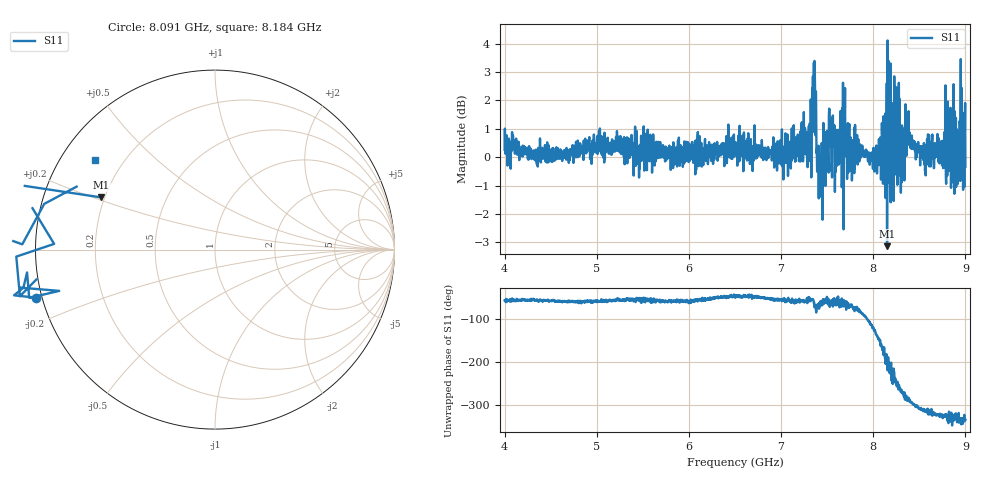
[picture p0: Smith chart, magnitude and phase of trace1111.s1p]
! Created with skrf 1.8.0 (http://scikit-rf.org).
# Hz S RI R 50.0
!freq ReS11 ImS11
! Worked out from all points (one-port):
!   1601 points, 4 GHz to 9 GHz, reference 50 ohm
!   lowest |S11| = -3.1 dB at 8.15 GHz (marker M1), VSWR 5.60, Z = 9.34 + j10.6 ohm
!   |S11| at or under -10 dB: nowhere
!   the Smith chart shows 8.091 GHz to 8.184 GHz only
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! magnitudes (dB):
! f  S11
! 4 GHz  0.3
! 4.625 GHz  -0.1
! 5.25 GHz  0.2
! 5.875 GHz  0.2
! 6.5 GHz  0.5
! 7.125 GHz  0.2
! 7.303 GHz  1.1
! 7.356 GHz  3.3
! 7.381 GHz  1.6
! 7.409 GHz  -1.5
! 7.425 GHz  -0.4
! 7.544 GHz  0.6
! 7.609 GHz  0.6
! 7.669 GHz  0.9
! 7.75 GHz  0.1
! 8.066 GHz  0.0
! 8.125 GHz  -0.9
! 8.15 GHz  -3.1
! 8.162 GHz  -0.3
! 8.197 GHz  0.1
! 8.253 GHz  0.0
! 8.312 GHz  1.1
! 8.375 GHz  0.7
! 8.556 GHz  -0.3
! 8.816 GHz  0.4
! 8.919 GHz  0.1
! 8.959 GHz  2.4
! 9 GHz  -0.3
